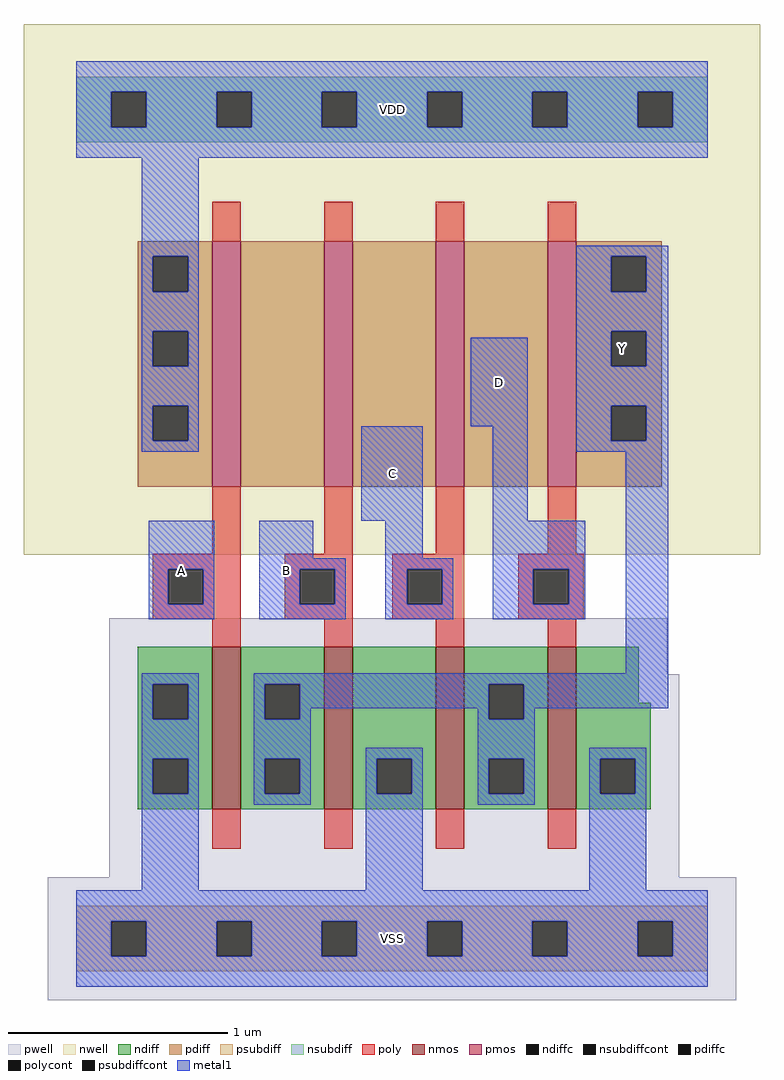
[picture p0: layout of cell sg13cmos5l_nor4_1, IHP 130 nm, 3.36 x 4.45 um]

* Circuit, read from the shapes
.subckt sg13cmos5l_nor4_1 VSS VDD B C Y A D
XM1 Y A VSS VSS sg13_lv_nmos w=0.74u l=0.13u
XM2 VSS B Y VSS sg13_lv_nmos w=0.74u l=0.13u
XM3 Y C VSS VSS sg13_lv_nmos w=0.74u l=0.13u
XM4 VSS D Y VSS sg13_lv_nmos w=0.74u l=0.13u
XM5 n1 A VDD VDD sg13_lv_pmos w=1.12u l=0.13u
XM6 n2 B n1 VDD sg13_lv_pmos w=1.12u l=0.13u
XM7 n3 C n2 VDD sg13_lv_pmos w=1.12u l=0.13u
XM8 Y D n3 VDD sg13_lv_pmos w=1.12u l=0.13u
.ends

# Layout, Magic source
magic
tech ihp-sg13cmos5l
magscale 1 2
<< nwell >>
rect -48 350 624 834
<< pwell >>
rect 30 241 539 292
rect 30 56 550 241
rect -26 -56 602 56
<< nmos >>
rect 124 118 150 266
rect 226 118 252 266
rect 328 118 354 266
rect 430 118 456 266
<< pmos >>
rect 124 412 150 636
rect 226 412 252 636
rect 328 412 354 636
rect 430 412 456 636
<< ndiff >>
rect 56 232 124 266
rect 56 200 70 232
rect 102 200 124 232
rect 56 164 124 200
rect 56 132 70 164
rect 102 132 124 164
rect 56 118 124 132
rect 150 232 226 266
rect 150 200 172 232
rect 204 200 226 232
rect 150 164 226 200
rect 150 132 172 164
rect 204 132 226 164
rect 150 118 226 132
rect 252 164 328 266
rect 252 132 274 164
rect 306 132 328 164
rect 252 118 328 132
rect 354 232 430 266
rect 354 200 376 232
rect 408 200 430 232
rect 354 164 430 200
rect 354 132 376 164
rect 408 132 430 164
rect 354 118 430 132
rect 456 215 513 266
rect 456 164 524 215
rect 456 132 478 164
rect 510 132 524 164
rect 456 118 524 132
<< pdiff >>
rect 56 622 124 636
rect 56 590 70 622
rect 102 590 124 622
rect 56 554 124 590
rect 56 522 70 554
rect 102 522 124 554
rect 56 486 124 522
rect 56 454 70 486
rect 102 454 124 486
rect 56 412 124 454
rect 150 412 226 636
rect 252 412 328 636
rect 354 412 430 636
rect 456 622 534 636
rect 456 590 488 622
rect 520 590 534 622
rect 456 554 534 590
rect 456 522 488 554
rect 520 522 534 554
rect 456 486 534 522
rect 456 454 488 486
rect 520 454 534 486
rect 456 412 534 454
<< ndiffc >>
rect 70 200 102 232
rect 70 132 102 164
rect 172 200 204 232
rect 172 132 204 164
rect 274 132 306 164
rect 376 200 408 232
rect 376 132 408 164
rect 478 132 510 164
<< pdiffc >>
rect 70 590 102 622
rect 70 522 102 554
rect 70 454 102 486
rect 488 590 520 622
rect 488 522 520 554
rect 488 454 520 486
<< psubdiff >>
rect 0 16 576 30
rect 0 -16 32 16
rect 64 -16 128 16
rect 160 -16 224 16
rect 256 -16 320 16
rect 352 -16 416 16
rect 448 -16 512 16
rect 544 -16 576 16
rect 0 -30 576 -16
<< nsubdiff >>
rect 0 772 576 786
rect 0 740 32 772
rect 64 740 128 772
rect 160 740 224 772
rect 256 740 320 772
rect 352 740 416 772
rect 448 740 512 772
rect 544 740 576 772
rect 0 726 576 740
<< psubdiffcont >>
rect 32 -16 64 16
rect 128 -16 160 16
rect 224 -16 256 16
rect 320 -16 352 16
rect 416 -16 448 16
rect 512 -16 544 16
<< nsubdiffcont >>
rect 32 740 64 772
rect 128 740 160 772
rect 224 740 256 772
rect 320 740 352 772
rect 416 740 448 772
rect 512 740 544 772
<< poly >>
rect 124 636 150 672
rect 226 636 252 672
rect 328 636 354 672
rect 430 636 456 672
rect 124 351 150 412
rect 226 351 252 412
rect 328 351 354 412
rect 430 351 456 412
rect 70 337 150 351
rect 70 305 84 337
rect 116 305 150 337
rect 70 291 150 305
rect 190 337 252 351
rect 190 305 204 337
rect 236 305 252 337
rect 190 291 252 305
rect 288 337 354 351
rect 288 305 302 337
rect 334 305 354 337
rect 288 291 354 305
rect 403 337 463 351
rect 403 305 417 337
rect 449 305 463 337
rect 403 291 463 305
rect 124 266 150 291
rect 226 266 252 291
rect 328 266 354 291
rect 430 266 456 291
rect 124 82 150 118
rect 226 82 252 118
rect 328 82 354 118
rect 430 82 456 118
<< polycont >>
rect 84 305 116 337
rect 204 305 236 337
rect 302 305 334 337
rect 417 305 449 337
<< metal1 >>
rect 0 772 576 800
rect 0 740 32 772
rect 64 740 128 772
rect 160 740 224 772
rect 256 740 320 772
rect 352 740 416 772
rect 448 740 512 772
rect 544 740 576 772
rect 0 712 576 740
rect 60 622 112 712
rect 60 590 70 622
rect 102 590 112 622
rect 60 554 112 590
rect 60 522 70 554
rect 102 522 112 554
rect 456 622 540 632
rect 456 590 488 622
rect 520 590 540 622
rect 456 554 540 590
rect 60 486 112 522
rect 60 454 70 486
rect 102 454 112 486
rect 360 467 412 548
rect 60 444 112 454
rect 260 381 316 467
rect 66 337 126 381
rect 66 305 84 337
rect 116 305 126 337
rect 66 291 126 305
rect 167 347 216 381
rect 282 347 316 381
rect 380 381 412 467
rect 456 522 488 554
rect 520 522 540 554
rect 456 486 540 522
rect 456 454 488 486
rect 520 454 540 486
rect 456 444 540 454
rect 167 337 246 347
rect 167 305 204 337
rect 236 305 246 337
rect 167 291 246 305
rect 282 337 344 347
rect 282 305 302 337
rect 334 305 344 337
rect 282 291 344 305
rect 380 337 464 381
rect 380 305 417 337
rect 449 305 464 337
rect 380 291 464 305
rect 501 242 540 444
rect 60 232 112 242
rect 60 200 70 232
rect 102 200 112 232
rect 60 164 112 200
rect 60 132 70 164
rect 102 132 112 164
rect 60 44 112 132
rect 162 232 540 242
rect 162 200 172 232
rect 204 210 376 232
rect 204 200 214 210
rect 162 164 214 200
rect 366 200 376 210
rect 408 210 540 232
rect 408 200 418 210
rect 162 132 172 164
rect 204 132 214 164
rect 162 122 214 132
rect 264 164 316 174
rect 264 132 274 164
rect 306 132 316 164
rect 264 44 316 132
rect 366 164 418 200
rect 366 132 376 164
rect 408 132 418 164
rect 366 122 418 132
rect 468 164 520 174
rect 468 132 478 164
rect 510 132 520 164
rect 468 44 520 132
rect 0 16 576 44
rect 0 -16 32 16
rect 64 -16 128 16
rect 160 -16 224 16
rect 256 -16 320 16
rect 352 -16 416 16
rect 448 -16 512 16
rect 544 -16 576 16
rect 0 -44 576 -16
<< labels >>
flabel metal1 s 0 -44 576 44 0 FreeSans 400 0 0 0 VSS
port 2 nsew
flabel metal1 s 0 712 576 800 0 FreeSans 400 0 0 0 VDD
port 3 nsew
flabel metal1 s 167 291 216 381 0 FreeSans 400 0 0 0 B
port 4 nsew
flabel metal1 s 260 381 316 467 0 FreeSans 400 0 0 0 C
port 5 nsew
flabel metal1 s 456 444 540 632 0 FreeSans 400 0 0 0 Y
port 6 nsew
flabel metal1 s 66 291 126 381 0 FreeSans 400 0 0 0 A
port 7 nsew
flabel metal1 s 360 467 412 548 0 FreeSans 400 0 0 0 D
port 8 nsew
<< properties >>
string FIXED_BBOX 0 0 576 756
string GDS_END 70272
string GDS_FILE pll_digital.gds
string GDS_START 64862
<< end >>
